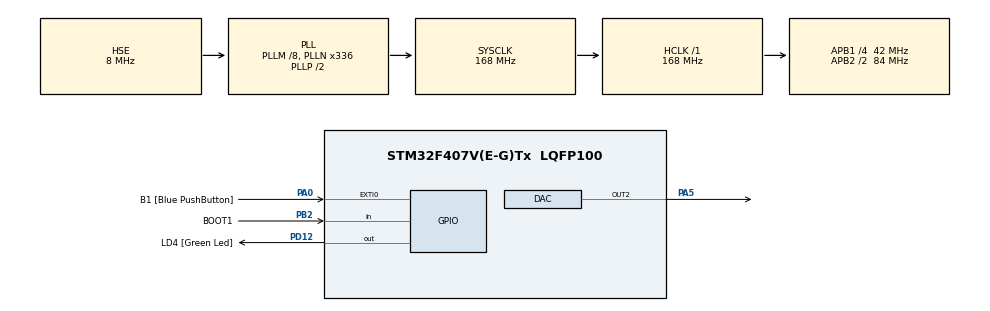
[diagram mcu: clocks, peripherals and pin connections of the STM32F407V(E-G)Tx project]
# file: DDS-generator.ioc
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DAC.DAC_Trigger2=DAC_TRIGGER_T2_TRGO
Dma.DAC2.0.Direction=DMA_MEMORY_TO_PERIPH
Dma.DAC2.0.FIFOMode=DMA_FIFOMODE_DISABLE
Dma.DAC2.0.Instance=DMA1_Stream6
Dma.DAC2.0.MemDataAlignment=DMA_MDATAALIGN_HALFWORD
Dma.DAC2.0.MemInc=DMA_MINC_ENABLE
Dma.DAC2.0.Mode=DMA_CIRCULAR
Dma.DAC2.0.PeriphDataAlignment=DMA_PDATAALIGN_HALFWORD
Dma.DAC2.0.PeriphInc=DMA_PINC_DISABLE
Dma.DAC2.0.Priority=DMA_PRIORITY_LOW
Dma.Request0=DAC2
Mcu.Family=STM32F4
Mcu.Name=STM32F407V(E-G)Tx
Mcu.Package=LQFP100
NVIC.DMA1_Stream6_IRQn=true\:0\:0\:false\:false\:true\:false\:true
NVIC.EXTI0_IRQn=true\:0\:0\:false\:false\:true\:true\:true
NVIC.PriorityGroup=NVIC_PRIORITYGROUP_0
NVIC.TIM2_IRQn=true\:0\:0\:false\:false\:true\:true\:true
PA0-WKUP.GPIO_Label=B1 [Blue PushButton]
PA0-WKUP.GPIO_ModeDefaultEXTI=GPIO_MODE_IT_FALLING
PA0-WKUP.GPIO_PuPd=GPIO_NOPULL
PA0-WKUP.Signal=GPXTI0
PA13.GPIO_Label=SWDIO
PA13.Mode=Serial_Wire
PA13.Signal=SYS_JTMS-SWDIO
PA14.GPIO_Label=SWCLK
PA14.Mode=Serial_Wire
PA14.Signal=SYS_JTCK-SWCLK
PA5.Signal=COMP_DAC2_group
PB2.GPIO_Label=BOOT1
PB2.GPIO_Mode=GPIO_MODE_INPUT
PB2.GPIO_PuPd=GPIO_NOPULL
PB2.Signal=GPIO_Input
PC14-OSC32_IN.GPIO_Label=PC14-OSC32_IN
PC14-OSC32_IN.Mode=LSE-External-Oscillator
PC14-OSC32_IN.Signal=RCC_OSC32_IN
PC15-OSC32_OUT.GPIO_Label=PC15-OSC32_OUT
PC15-OSC32_OUT.Mode=LSE-External-Oscillator
PC15-OSC32_OUT.Signal=RCC_OSC32_OUT
PD12.GPIO_Label=LD4 [Green Led]
PD12.GPIO_PuPd=GPIO_NOPULL
PD12.GPIO_Speed=GPIO_SPEED_FREQ_LOW
PD12.Signal=GPIO_Output
PH0-OSC_IN.GPIO_Label=PH0-OSC_IN
PH0-OSC_IN.Mode=HSE-External-Oscillator
PH0-OSC_IN.Signal=RCC_OSC_IN
PH1-OSC_OUT.GPIO_Label=PH1-OSC_OUT
PH1-OSC_OUT.Mode=HSE-External-Oscillator
PH1-OSC_OUT.Signal=RCC_OSC_OUT
ProjectManager.HeapSize=0x200
ProjectManager.StackSize=0x400
ProjectManager.TargetToolchain=STM32CubeIDE
RCC.48MHZClocksFreq_Value=48000000
RCC.AHBFreq_Value=168000000
RCC.APB1CLKDivider=RCC_HCLK_DIV4
RCC.APB1Freq_Value=42000000
RCC.APB1TimFreq_Value=84000000
RCC.APB2CLKDivider=RCC_HCLK_DIV2
RCC.APB2Freq_Value=84000000
RCC.APB2TimFreq_Value=168000000
RCC.CortexFreq_Value=168000000
RCC.HCLKFreq_Value=168000000
RCC.HSE_VALUE=8000000
RCC.HSI_VALUE=16000000
RCC.PLLM=8
RCC.PLLN=336
RCC.PLLQ=7
RCC.PLLSourceVirtual=RCC_PLLSOURCE_HSE
RCC.SYSCLKFreq_VALUE=168000000
RCC.SYSCLKSource=RCC_SYSCLKSOURCE_PLLCLK
RCC.VCOOutputFreq_Value=336000000
SH.COMP_DAC2_group.0=DAC_OUT2,DAC_OUT2
TIM2.Period=9
TIM2.Prescaler=83
TIM2.TIM_MasterOutputTrigger=TIM_TRGO_UPDATE
VP_TIM2_VS_ClockSourceINT.Mode=Internal
board=STM32F407G-DISC1

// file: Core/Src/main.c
/* USER CODE BEGIN Header */
/**
  ******************************************************************************
  * @file           : main.c
  * @brief          : Main program body
  ******************************************************************************
  * @attention
  *
  * <h2><center>&copy; Copyright (c) 2021 STMicroelectronics.
  * All rights reserved.</center></h2>
  *
  * This software component is licensed by ST under Ultimate Liberty license
  * SLA0044, the "License"; You may not use this file except in compliance with
  * the License. You may obtain a copy of the License at:
  *                             www.st.com/SLA0044
  *
  ******************************************************************************
  */
/* USER CODE END Header */
#include "main.h"

/* USER CODE BEGIN PD */
#define DAC_BUFF_LEN	1024
#define  DMA_BUFF_LEN	16
/* USER CODE END PD */

DAC_HandleTypeDef hdac;
DMA_HandleTypeDef hdma_dac2;

TIM_HandleTypeDef htim2;

/* USER CODE BEGIN PV */
uint16_t dma_buff[DMA_BUFF_LEN];
uint16_t dac_data[DAC_BUFF_LEN] = {2000,2011,2021,2032,2043,2054,2064,2075,
		2086,2097,2107,2118,2129,2139,2150,2161,
		2172,2182,2193,2204,2214,2225,2236,2246,
		2257,2267,2278,2289,2299,2310,2320,2331,
		2341,2352,2362,2373,2383,2394,2404,2415,
		2425,2436,2446,2456,2467,2477,2487,2498,
		2508,2518,2529,2539,2549,2559,2569,2579,
		2590,2600,2610,2620,2630,2640,2650,2660,
		2670,2680,2689,2699,2709,2719,2729,2739,
		2748,2758,2768,2777,2787,2796,2806,2815,
		2825,2834,2844,2853,2863,2872,2881,2890,
		2900,2909,2918,2927,2936,2945,2954,2963,
		2972,2981,2990,2999,3008,3016,3025,3034,
		3042,3051,3060,3068,3077,3085,3094,3102,
		3110,3118,3127,3135,3143,3151,3159,3167,
		3175,3183,3191,3199,3207,3214,3222,3230,
		3237,3245,3253,3260,3267,3275,3282,3289,
		3297,3304,3311,3318,3325,3332,3339,3346,
		3353,3360,3366,3373,3380,3386,3393,3399,
		3406,3412,3418,3425,3431,3437,3443,3449,
		3455,3461,3467,3473,3478,3484,3490,3495,
		3501,3507,3512,3517,3523,3528,3533,3538,
		3543,3548,3553,3558,3563,3568,3573,3577,
		3582,3587,3591,3595,3600,3604,3608,3613,
		3617,3621,3625,3629,3633,3637,3640,3644,
		3648,3651,3655,3658,3662,3665,3668,3671,
		3675,3678,3681,3684,3687,3689,3692,3695,
		3698,3700,3703,3705,3707,3710,3712,3714,
		3716,3718,3720,3722,3724,3726,3728,3729,
		3731,3733,3734,3735,3737,3738,3739,3740,
		3742,3743,3744,3744,3745,3746,3747,3747,
		3748,3748,3749,3749,3749,3750,3750,3750,
		3750,3750,3750,3750,3749,3749,3749,3748,
		3748,3747,3747,3746,3745,3744,3744,3743,
		3742,3740,3739,3738,3737,3735,3734,3733,
		3731,3729,3728,3726,3724,3722,3720,3718,
		3716,3714,3712,3710,3707,3705,3703,3700,
		3698,3695,3692,3689,3687,3684,3681,3678,
		3675,3671,3668,3665,3662,3658,3655,3651,
		3648,3644,3640,3637,3633,3629,3625,3621,
		3617,3613,3608,3604,3600,3595,3591,3587,
		3582,3577,3573,3568,3563,3558,3553,3548,
		3543,3538,3533,3528,3523,3517,3512,3507,
		3501,3495,3490,3484,3478,3473,3467,3461,
		3455,3449,3443,3437,3431,3425,3418,3412,
		3406,3399,3393,3386,3380,3373,3366,3360,
		3353,3346,3339,3332,3325,3318,3311,3304,
		3297,3289,3282,3275,3267,3260,3253,3245,
		3237,3230,3222,3214,3207,3199,3191,3183,
		3175,3167,3159,3151,3143,3135,3127,3118,
		3110,3102,3094,3085,3077,3068,3060,3051,
		3042,3034,3025,3016,3008,2999,2990,2981,
		2972,2963,2954,2945,2936,2927,2918,2909,
		2900,2890,2881,2872,2863,2853,2844,2834,
		2825,2815,2806,2796,2787,2777,2768,2758,
		2748,2739,2729,2719,2709,2699,2689,2680,
		2670,2660,2650,2640,2630,2620,2610,2600,
		2590,2579,2569,2559,2549,2539,2529,2518,
		2508,2498,2487,2477,2467,2456,2446,2436,
		2425,2415,2404,2394,2383,2373,2362,2352,
		2341,2331,2320,2310,2299,2289,2278,2267,
		2257,2246,2236,2225,2214,2204,2193,2182,
		2172,2161,2150,2139,2129,2118,2107,2097,
		2086,2075,2064,2054,2043,2032,2021,2011,
		2000,1989,1979,1968,1957,1946,1936,1925,
		1914,1903,1893,1882,1871,1861,1850,1839,
		1828,1818,1807,1796,1786,1775,1764,1754,
		1743,1733,1722,1711,1701,1690,1680,1669,
		1659,1648,1638,1627,1617,1606,1596,1585,
		1575,1564,1554,1544,1533,1523,1513,1502,
		1492,1482,1471,1461,1451,1441,1431,1421,
		1410,1400,1390,1380,1370,1360,1350,1340,
		1330,1320,1311,1301,1291,1281,1271,1261,
		1252,1242,1232,1223,1213,1204,1194,1185,
		1175,1166,1156,1147,1137,1128,1119,1110,
		1100,1091,1082,1073,1064,1055,1046,1037,
		1028,1019,1010,1001,992,984,975,966,
		958,949,940,932,923,915,906,898,
		890,882,873,865,857,849,841,833,
		825,817,809,801,793,786,778,770,
		763,755,747,740,733,725,718,711,
		703,696,689,682,675,668,661,654,
		647,640,634,627,620,614,607,601,
		594,588,582,575,569,563,557,551,
		545,539,533,527,522,516,510,505,
		499,493,488,483,477,472,467,462,
		457,452,447,442,437,432,427,423,
		418,413,409,405,400,396,392,387,
		383,379,375,371,367,363,360,356,
		352,349,345,342,338,335,332,329,
		325,322,319,316,313,311,308,305,
		302,300,297,295,293,290,288,286,
		284,282,280,278,276,274,272,271,
		269,267,266,265,263,262,261,260,
		258,257,256,256,255,254,253,253,
		252,252,251,251,251,250,250,250,
		250,250,250,250,251,251,251,252,
		252,253,253,254,255,256,256,257,
		258,260,261,262,263,265,266,267,
		269,271,272,274,276,278,280,282,
		284,286,288,290,293,295,297,300,
		302,305,308,311,313,316,319,322,
		325,329,332,335,338,342,345,349,
		352,356,360,363,367,371,375,379,
		383,387,392,396,400,405,409,413,
		418,423,427,432,437,442,447,452,
		457,462,467,472,477,483,488,493,
		499,505,510,516,522,527,533,539,
		545,551,557,563,569,575,582,588,
		594,601,607,614,620,627,634,640,
		647,654,661,668,675,682,689,696,
		703,711,718,725,733,740,747,755,
		763,770,778,786,793,801,809,817,
		825,833,841,849,857,865,873,882,
		890,898,906,915,923,932,940,949,
		958,966,975,984,992,1001,1010,1019,
		1028,1037,1046,1055,1064,1073,1082,1091,
		1100,1110,1119,1128,1137,1147,1156,1166,
		1175,1185,1194,1204,1213,1223,1232,1242,
		1252,1261,1271,1281,1291,1301,1311,1320,
		1330,1340,1350,1360,1370,1380,1390,1400,
		1410,1421,1431,1441,1451,1461,1471,1482,
		1492,1502,1513,1523,1533,1544,1554,1564,
		1575,1585,1596,1606,1617,1627,1638,1648,
		1659,1669,1680,1690,1701,1711,1722,1733,
		1743,1754,1764,1775,1786,1796,1807,1818,
		1828,1839,1850,1861,1871,1882,1893,1903,
		1914,1925,1936,1946,1957,1968,1979,1989};
//uint16_t adc_data_counter = 0;
/* USER CODE END PV */

void SystemClock_Config(void);
static void MX_GPIO_Init(void);
static void MX_DAC_Init(void);
static void MX_DMA_Init(void);
static void MX_TIM2_Init(void);

int main(void)
{

  /* MCU Configuration--------------------------------------------------------*/

  /* Reset of all peripherals, Initializes the Flash interface and the Systick. */
  HAL_Init();

  /* Configure the system clock */
  SystemClock_Config();

  /* Initialize all configured peripherals */
  MX_GPIO_Init();
  MX_DAC_Init();
  MX_DMA_Init();
  MX_TIM2_Init();
  /* USER CODE BEGIN 2 */

//  HAL_ADC_Start_DMA(&hadc1, &dma_buff, 16);
//  HAL_TIM_Base_Start(&htim3);
//  HAL_DAC_Start(&hdac, DAC1_CHANNEL_2)
  HAL_DAC_Start_DMA(&hdac, DAC_CHANNEL_2, (uint32_t*)dac_data, DAC_BUFF_LEN, DAC_ALIGN_12B_R);
  HAL_TIM_Base_Start(&htim2);

  /* USER CODE END 2 */

  /* Infinite loop */
  while (1)
  {

  }
}

void SystemClock_Config(void)
{
  RCC_OscInitTypeDef RCC_OscInitStruct = {0};
  RCC_ClkInitTypeDef RCC_ClkInitStruct = {0};

  /** Configure the main internal regulator output voltage
  */
  __HAL_RCC_PWR_CLK_ENABLE();
  __HAL_PWR_VOLTAGESCALING_CONFIG(PWR_REGULATOR_VOLTAGE_SCALE1);
  /** Initializes the RCC Oscillators according to the specified parameters
  * in the RCC_OscInitTypeDef structure.
  */
  RCC_OscInitStruct.OscillatorType = RCC_OSCILLATORTYPE_HSE;
  RCC_OscInitStruct.HSEState = RCC_HSE_ON;
  RCC_OscInitStruct.PLL.PLLState = RCC_PLL_ON;
  RCC_OscInitStruct.PLL.PLLSource = RCC_PLLSOURCE_HSE;
  RCC_OscInitStruct.PLL.PLLM = 8;
  RCC_OscInitStruct.PLL.PLLN = 336;
  RCC_OscInitStruct.PLL.PLLP = RCC_PLLP_DIV2;
  RCC_OscInitStruct.PLL.PLLQ = 7;
  if (HAL_RCC_OscConfig(&RCC_OscInitStruct) != HAL_OK)
  {
    Error_Handler();
  }
  /** Initializes the CPU, AHB and APB buses clocks
  */
  RCC_ClkInitStruct.ClockType = RCC_CLOCKTYPE_HCLK|RCC_CLOCKTYPE_SYSCLK
                              |RCC_CLOCKTYPE_PCLK1|RCC_CLOCKTYPE_PCLK2;
  RCC_ClkInitStruct.SYSCLKSource = RCC_SYSCLKSOURCE_PLLCLK;
  RCC_ClkInitStruct.AHBCLKDivider = RCC_SYSCLK_DIV1;
  RCC_ClkInitStruct.APB1CLKDivider = RCC_HCLK_DIV4;
  RCC_ClkInitStruct.APB2CLKDivider = RCC_HCLK_DIV2;

  if (HAL_RCC_ClockConfig(&RCC_ClkInitStruct, FLASH_LATENCY_5) != HAL_OK)
  {
    Error_Handler();
  }
}

static void MX_DAC_Init(void)
{

  DAC_ChannelConfTypeDef sConfig = {0};

  /** DAC Initialization
  */
  hdac.Instance = DAC;
  if (HAL_DAC_Init(&hdac) != HAL_OK)
  {
    Error_Handler();
  }
  /** DAC channel OUT2 config
  */
  sConfig.DAC_Trigger = DAC_TRIGGER_T2_TRGO;
  sConfig.DAC_OutputBuffer = DAC_OUTPUTBUFFER_ENABLE;
  if (HAL_DAC_ConfigChannel(&hdac, &sConfig, DAC_CHANNEL_2) != HAL_OK)
  {
    Error_Handler();
  }

}

static void MX_TIM2_Init(void)
{

  TIM_ClockConfigTypeDef sClockSourceConfig = {0};
  TIM_MasterConfigTypeDef sMasterConfig = {0};

  htim2.Instance = TIM2;
  htim2.Init.Prescaler = 83;
  htim2.Init.CounterMode = TIM_COUNTERMODE_UP;
  htim2.Init.Period = 9;
  htim2.Init.ClockDivision = TIM_CLOCKDIVISION_DIV1;
  htim2.Init.AutoReloadPreload = TIM_AUTORELOAD_PRELOAD_DISABLE;
  if (HAL_TIM_Base_Init(&htim2) != HAL_OK)
  {
    Error_Handler();
  }
  sClockSourceConfig.ClockSource = TIM_CLOCKSOURCE_INTERNAL;
  if (HAL_TIM_ConfigClockSource(&htim2, &sClockSourceConfig) != HAL_OK)
  {
    Error_Handler();
  }
  sMasterConfig.MasterOutputTrigger = TIM_TRGO_UPDATE;
  sMasterConfig.MasterSlaveMode = TIM_MASTERSLAVEMODE_DISABLE;
  if (HAL_TIMEx_MasterConfigSynchronization(&htim2, &sMasterConfig) != HAL_OK)
  {
    Error_Handler();
  }

}

static void MX_DMA_Init(void)
{

  /* DMA controller clock enable */
  __HAL_RCC_DMA1_CLK_ENABLE();

  /* DMA interrupt init */
  /* DMA1_Stream6_IRQn interrupt configuration */
  HAL_NVIC_SetPriority(DMA1_Stream6_IRQn, 0, 0);
  HAL_NVIC_EnableIRQ(DMA1_Stream6_IRQn);

}

static void MX_GPIO_Init(void)
{
  GPIO_InitTypeDef GPIO_InitStruct = {0};

  /* GPIO Ports Clock Enable */
  __HAL_RCC_GPIOC_CLK_ENABLE();
  __HAL_RCC_GPIOH_CLK_ENABLE();
  __HAL_RCC_GPIOA_CLK_ENABLE();
  __HAL_RCC_GPIOB_CLK_ENABLE();
  __HAL_RCC_GPIOD_CLK_ENABLE();

  /*Configure GPIO pin Output Level */
  HAL_GPIO_WritePin(LD4_GPIO_Port, LD4_Pin, GPIO_PIN_RESET);

  /*Configure GPIO pin : B1_Pin */
  GPIO_InitStruct.Pin = B1_Pin;
  GPIO_InitStruct.Mode = GPIO_MODE_EVT_RISING;
  GPIO_InitStruct.Pull = GPIO_NOPULL;
  HAL_GPIO_Init(B1_GPIO_Port, &GPIO_InitStruct);

  /*Configure GPIO pin : BOOT1_Pin */
  GPIO_InitStruct.Pin = BOOT1_Pin;
  GPIO_InitStruct.Mode = GPIO_MODE_INPUT;
  GPIO_InitStruct.Pull = GPIO_NOPULL;
  HAL_GPIO_Init(BOOT1_GPIO_Port, &GPIO_InitStruct);

  /*Configure GPIO pin : LD4_Pin */
  GPIO_InitStruct.Pin = LD4_Pin;
  GPIO_InitStruct.Mode = GPIO_MODE_OUTPUT_PP;
  GPIO_InitStruct.Pull = GPIO_NOPULL;
  GPIO_InitStruct.Speed = GPIO_SPEED_FREQ_LOW;
  HAL_GPIO_Init(LD4_GPIO_Port, &GPIO_InitStruct);

}

/* USER CODE BEGIN 4 */
//void HAL_ADC_ConvCpltCallback(ADC_HandleTypeDef *hadc){
//	if(adc_data_counter < ADC_BUFF_LEN){
//	uint16_t ovs = 0;
//	for(uint8_t i = 0; i < DMA_BUFF_LEN; i++){
//		ovs += dma_buff[i];
//	}
//	adc_data[adc_data_counter] = (ovs >> 2); // 12-bit measurements -> 14-bit result
//	adc_data_counter++;
//	HAL_DAC_SetValue(&hdac, DAC1_CHANNEL_2, DAC_ALIGN_12B_L, ovs);
//	}
//	else{
//		HAL_GPIO_TogglePin(GPIOD, GPIO_PIN_12);
//	}
//}
/* USER CODE END 4 */

void Error_Handler(void)
{
  __disable_irq();
  while (1)
  {
  }
}

/************************ (C) COPYRIGHT STMicroelectronics *****END OF FILE****/
